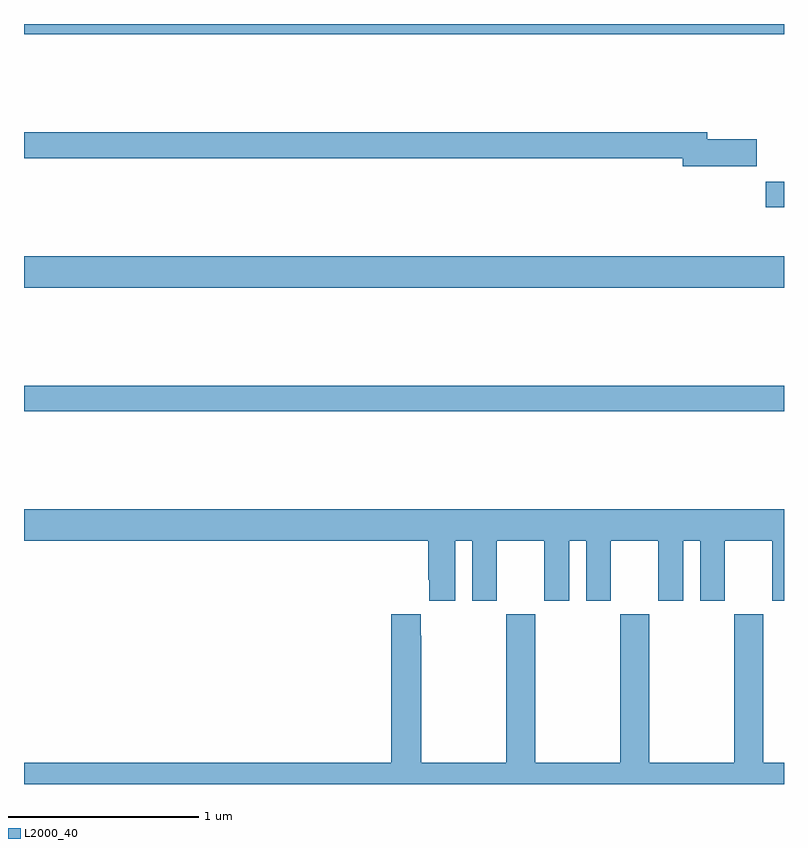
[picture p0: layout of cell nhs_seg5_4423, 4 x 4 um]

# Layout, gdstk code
import gdstk
lib = gdstk.Library(unit=1e-6, precision=1e-09)
def R(c, l, rs):  # rectangles x0, y0, x1, y1
    for r in rs: c.add(gdstk.rectangle(r[:2], r[2:], *l))
def P(c, l, *ps):  # polygons
    for p in ps: c.add(gdstk.Polygon(p, *l))
L2000_40 = (2000, 40)

nhs_seg5_4423 = lib.new_cell('nhs_seg5_4423')
R(nhs_seg5_4423, L2000_40, [(371,870.76,375,870.896), (371,871.412,375,871.576), (374.904,871.835,375,871.97), (371,872.744,375,872.799)])
P(nhs_seg5_4423, L2000_40, [(374.857,872.192),(374.596,872.192),(374.596,872.228),(371,872.228),(371,872.092),(374.468,872.092),(374.468,872.05),(374.857,872.05)],
  [(373.27,870.08),(373.358,870.08),(373.358,869.763),(373.489,869.763),(373.489,870.08),(373.739,870.08),(373.739,869.763),(373.87,869.763),(373.87,870.08),(373.958,870.08),(373.958,869.763),(374.089,869.763),(374.089,870.08),(374.339,870.08),(374.339,869.763),(374.47,869.763),(374.47,870.08),(374.558,870.08),(374.558,869.763),(374.689,869.763),(374.689,870.08),(374.939,870.08),(374.939,869.763),(375,869.763),(375,870.244),(371,870.244),(371,870.08),(373.127,870.08),(373.127,869.875),(373.133,869.875),(373.133,869.763),(373.27,869.763)],
  [(375,868.912),(374.892,868.912),(374.892,869.692),(374.737,869.692),(374.737,868.912),(374.292,868.912),(374.292,869.692),(374.137,869.692),(374.137,868.912),(373.692,868.912),(373.692,869.692),(373.537,869.692),(373.537,868.912),(373.092,868.912),(373.092,869.579),(373.087,869.579),(373.087,869.692),(372.932,869.692),(372.932,868.912),(371,868.912),(371,868.799),(375,868.799)])

lib.write_gds('nhs_seg5_4423.gds')
